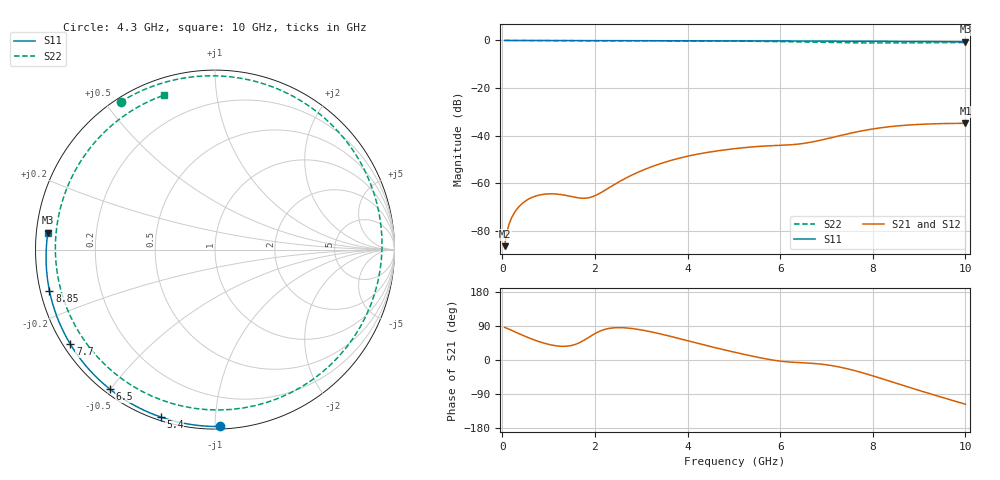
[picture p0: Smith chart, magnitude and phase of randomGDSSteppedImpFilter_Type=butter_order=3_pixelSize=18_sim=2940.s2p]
! freq	dB(S11)	phase(S11)	dB(S12)	phase(S12)
!  dB(S21)	phase(S21)	dB(S22)	phase(S22)
!S-par simulation data
#  GHz  S  DB  R 50
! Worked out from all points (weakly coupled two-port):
!   200 points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, 50 MHz to 10 GHz, reference 50 ohm
!   highest |S21| = -34.84 dB at 10 GHz (marker M1); lowest = -86.5 dB at 50 MHz (marker M2)
!   lowest |S11| = -0.6 dB at 10 GHz (marker M3), VSWR 30.19, Z = 1.66 + j2.54 ohm
!   |S11| at or under -10 dB: nowhere
!   |S22| runs from -1.0 to 0.0 dB; largest |S21 - S12| = 0
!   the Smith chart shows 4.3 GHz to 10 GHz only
!   S11 on the Smith chart (normalised r, x): 4.3 GHz: 0.01, -1.03; 5.4 GHz: 0.02, -0.73; 6.5 GHz: 0.02, -0.50; 7.7 GHz: 0.02, -0.30; 8.85 GHz: 0.03, -0.12; 10 GHz: 0.03, +0.05
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0.05  -0.00 -1.1  -86.48 86.2  -86.48 86.2  -0.00 -4.8
0.1  -0.00 -2.2  -80.50 83.8  -80.50 83.8  -0.01 -9.6
0.25  -0.01 -5.5  -72.76 75.5  -72.76 75.5  -0.03 -23.8
0.4  -0.01 -8.8  -69.08 67.3  -69.08 67.3  -0.05 -37.6
0.8  -0.02 -17.5  -64.99 48.2  -64.99 48.2  -0.08 -71.3
1.2  -0.03 -26.2  -64.63 36.8  -64.63 36.8  -0.10 -99.9
1.75  -0.05 -37.9  -66.34 51.1  -66.34 51.1  -0.12 -131.9
2.5  -0.07 -53.4  -59.66 85.4  -59.66 85.4  -0.13 -166.5
3.4  -0.09 -71.2  -51.88 69.2  -51.88 69.2  -0.15 158.0
4.3  -0.12 -88.3  -47.49 41.5  -47.49 41.5  -0.20 122.6
5.05  -0.15 -101.8  -45.42 19.5  -45.42 19.5  -0.28 88.8
5.4  -0.17 -108.0  -44.75 10.2  -44.75 10.2  -0.34 70.5
5.9  -0.20 -116.7  -44.17 -1.3  -44.17 -1.3  -0.45 40.3
6.5  -0.24 -126.9  -43.30 -7.4  -43.30 -7.4  -0.64 -3.3
6.7  -0.25 -130.2  -42.64 -8.9  -42.64 -8.9  -0.72 -19.6
7.25  -0.29 -139.4  -40.20 -17.8  -40.20 -17.8  -0.91 -66.9
7.7  -0.33 -146.8  -38.25 -31.0  -38.25 -31.0  -1.01 -105.3
8.05  -0.36 -152.7  -37.05 -43.7  -37.05 -43.7  -1.04 -133.1
8.35  -0.39 -157.6  -36.28 -55.2  -36.28 -55.2  -1.04 -155.0
8.85  -0.44 -166.0  -35.45 -74.6  -35.45 -74.6  -1.01 172.1
9.45  -0.51 -176.2  -34.97 -96.9  -34.97 -96.9  -0.93 137.2
10  -0.58 174.2  -34.84 -116.7  -34.84 -116.7  -0.86 108.2
